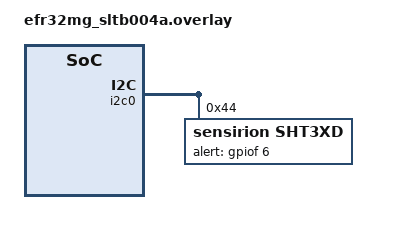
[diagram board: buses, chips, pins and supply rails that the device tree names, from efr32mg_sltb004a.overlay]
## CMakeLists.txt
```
#
# Copyright (c) 2018 Peter Bigot Consulting, LLC
#
# SPDX-License-Identifier: Apache-2.0
#

cmake_minimum_required(VERSION 3.28.0)
find_package(Zephyr REQUIRED HINTS $ENV{ZEPHYR_BASE})
project(sht3xd)

FILE(GLOB app_sources src/*.c)
target_sources(app PRIVATE ${app_sources})
```

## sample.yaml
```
#
# Copyright (c) 2018 Peter Bigot Consulting, LLC
#
# SPDX-License-Identifier: Apache-2.0
#

sample:
  name: SHT3XD Sensor Sample
common:
  platform_allow:
    - sltb004a
    - frdm_k64f
    - nrf51_ble400
    - nrf52840dk/nrf52840
    - nucleo_l476rg
  integration_platforms:
    - nrf52840dk/nrf52840
  tags: sensors
  build_only: true
tests:
  sample.sensor.sht3xd: {}
  sample.sensor.sht3xd.trigger:
    extra_args: CONF_FILE="trigger.conf"
```

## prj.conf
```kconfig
#
# Copyright (c) 2018 Peter Bigot Consulting, LLC
#
# SPDX-License-Identifier: Apache-2.0
#

CONFIG_STDOUT_CONSOLE=y
CONFIG_I2C=y
CONFIG_SENSOR=y
CONFIG_CBPRINTF_FP_SUPPORT=y
```

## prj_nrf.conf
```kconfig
#
# Copyright (c) 2018 Peter Bigot Consulting, LLC
#
# SPDX-License-Identifier: Apache-2.0
#

CONFIG_STDOUT_CONSOLE=y
CONFIG_I2C=y
CONFIG_I2C_0=y
CONFIG_SENSOR=y
CONFIG_SHT3XD=y
CONFIG_SHT3XD_TRIGGER_OWN_THREAD=y
```

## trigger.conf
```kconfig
#
# Copyright (c) 2019 Peter Bigot Consulting, LLC
#
# SPDX-License-Identifier: Apache-2.0
#

CONFIG_STDOUT_CONSOLE=y
CONFIG_I2C=y
CONFIG_SENSOR=y
CONFIG_LOG=y
CONFIG_SENSOR_LOG_LEVEL_DBG=y
CONFIG_SHT3XD_TRIGGER_GLOBAL_THREAD=y
```

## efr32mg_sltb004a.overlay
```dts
/*
 * Copyright (c) 2018-2019 Peter Bigot Consulting, LLC
 *
 * SPDX-License-Identifier: Apache-2.0
 */

&i2c0 { /* SDA H16=PC10, SCL H15=PC11, ALERT H13=PF6 */
	sht3xd@44 {
		compatible = "sensirion,sht3xd";
		reg = <0x44>;
		label = "SHT3XD";
		alert-gpios = <&gpiof 6 GPIO_INT_ACTIVE_HIGH>;
	};
};
```

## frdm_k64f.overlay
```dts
/*
 * Copyright (c) 2019 Peter Bigot Consulting, LLC
 *
 * SPDX-License-Identifier: Apache-2.0
 */

&i2c0 { /* SDA PTE25, SCL PTE24, ALERT PTE26 */
	sht3xd@44 {
		compatible = "sensirion,sht3xd";
		reg = <0x44>;
		label = "SHT3XD";
		alert-gpios = <&gpioe 26 GPIO_ACTIVE_HIGH>;
	};
};
```

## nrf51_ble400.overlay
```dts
/*
 * Copyright (c) 2018 Peter Bigot Consulting, LLC
 *
 * SPDX-License-Identifier: Apache-2.0
 */

&i2c0 {
	sht3xd@44 {
		compatible = "sensirion,sht3xd";
		reg = <0x44>;
		label = "SHT3XD";
		alert-gpios = <&gpio0 2 GPIO_INT_ACTIVE_HIGH>;
	};
};
```

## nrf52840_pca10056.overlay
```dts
/*
 * Copyright (c) 2018-2019 Peter Bigot Consulting, LLC
 *
 * SPDX-License-Identifier: Apache-2.0
 */

&i2c0 { /* SDA P0.26, SCL P0.27, ALERT P1.10 */
	sht3xd@44 {
		compatible = "sensirion,sht3xd";
		reg = <0x44>;
		label = "SHT3XD";
		alert-gpios = <&gpio1 10 GPIO_INT_ACTIVE_HIGH>;
	};
};
```

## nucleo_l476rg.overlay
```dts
/*
 * Copyright (c) 2019 Peter Bigot Consulting, LLC
 *
 * SPDX-License-Identifier: Apache-2.0
 */

&i2c1 { /* SDA CN5.9=PB9, SCL CN5.10=PB8, ALERT CN5.1=D8=PA9 */
/* &i2c3 { * SDA CN7.36=PC1, SCL CN7.38=PC0, ALERT CN7.34=PB0 */
	sht3xd@44 {
		compatible = "sensirion,sht3xd";
		reg = <0x44>;
		label = "SHT3XD";
		alert-gpios = <&gpioa 9 GPIO_INT_ACTIVE_HIGH>;
	};
};
```

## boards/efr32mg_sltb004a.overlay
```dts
/*
 * Copyright (c) 2018-2019 Peter Bigot Consulting, LLC
 *
 * SPDX-License-Identifier: Apache-2.0
 */

&i2c0 { /* SDA H16=PC10, SCL H15=PC11, ALERT H13=PF6 */
	sht3xd@44 {
		compatible = "sensirion,sht3xd";
		reg = <0x44>;
		label = "SHT3XD";
		alert-gpios = <&gpiof 6 GPIO_ACTIVE_HIGH>;
	};
};
```

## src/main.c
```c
/*
 * Copyright (c) 2018 Peter Bigot Consulting, LLC
 *
 * SPDX-License-Identifier: Apache-2.0
 */

#include <zephyr/kernel.h>
#include <zephyr/device.h>
#include <zephyr/drivers/sensor.h>
#include <stdio.h>

#define ALERT_HUMIDITY_LO 50
#define ALERT_HUMIDITY_HI 60

#ifdef CONFIG_SHT3XD_TRIGGER
static volatile bool alerted;

static void trigger_handler(const struct device *dev,
			    const struct sensor_trigger *trig)
{
	alerted = !alerted;
}

#endif

int main(void)
{
	const struct device *const dev = DEVICE_DT_GET_ONE(sensirion_sht3xd);
	int rc;

	if (!device_is_ready(dev)) {
		printf("Device %s is not ready\n", dev->name);
		return 0;
	}

#ifdef CONFIG_SHT3XD_TRIGGER
	struct sensor_trigger trig = {
		.type = SENSOR_TRIG_THRESHOLD,
		.chan = SENSOR_CHAN_HUMIDITY,
	};
	struct sensor_value lo_thr = { ALERT_HUMIDITY_LO };
	struct sensor_value hi_thr = { ALERT_HUMIDITY_HI };
	bool last_alerted = false;

	rc = sensor_attr_set(dev, SENSOR_CHAN_HUMIDITY,
			     SENSOR_ATTR_LOWER_THRESH, &lo_thr);
	if (rc == 0) {
		rc = sensor_attr_set(dev, SENSOR_CHAN_HUMIDITY,
				     SENSOR_ATTR_UPPER_THRESH, &hi_thr);
	}
	if (rc == 0) {
		rc = sensor_trigger_set(dev, &trig, trigger_handler);
	}
	if (rc != 0) {
		printf("SHT3XD: trigger config failed: %d\n", rc);
		return 0;
	}
	printf("Alert outside %d..%d %%RH got %d\n", lo_thr.val1,
	       hi_thr.val1, rc);
#endif

	while (true) {
		struct sensor_value temp, hum;

		rc = sensor_sample_fetch(dev);
		if (rc == 0) {
			rc = sensor_channel_get(dev, SENSOR_CHAN_AMBIENT_TEMP,
						&temp);
		}
		if (rc == 0) {
			rc = sensor_channel_get(dev, SENSOR_CHAN_HUMIDITY,
						&hum);
		}
		if (rc != 0) {
			printf("SHT3XD: failed: %d\n", rc);
			break;
		}

#ifdef CONFIG_SHT3XD_TRIGGER
		if (alerted != last_alerted) {
			if (lo_thr.val1 > hum.val1) {
				printf("ALERT: humidity %d < %d\n",
				       hum.val1, lo_thr.val1);
			} else if (hi_thr.val1 < hum.val1) {
				printf("ALERT: humidity %d > %d\n",
				       hum.val1, hi_thr.val1);
			} else {
				printf("ALERT: humidity %d <= %d <= %d\n",
				       lo_thr.val1, hum.val1, hi_thr.val1);
			}
			last_alerted = alerted;
		}
#endif

		printf("SHT3XD: %.2f Cel ; %0.2f %%RH\n",
		       sensor_value_to_double(&temp),
		       sensor_value_to_double(&hum));

		k_sleep(K_MSEC(2000));
	}
	return 0;
}
```
